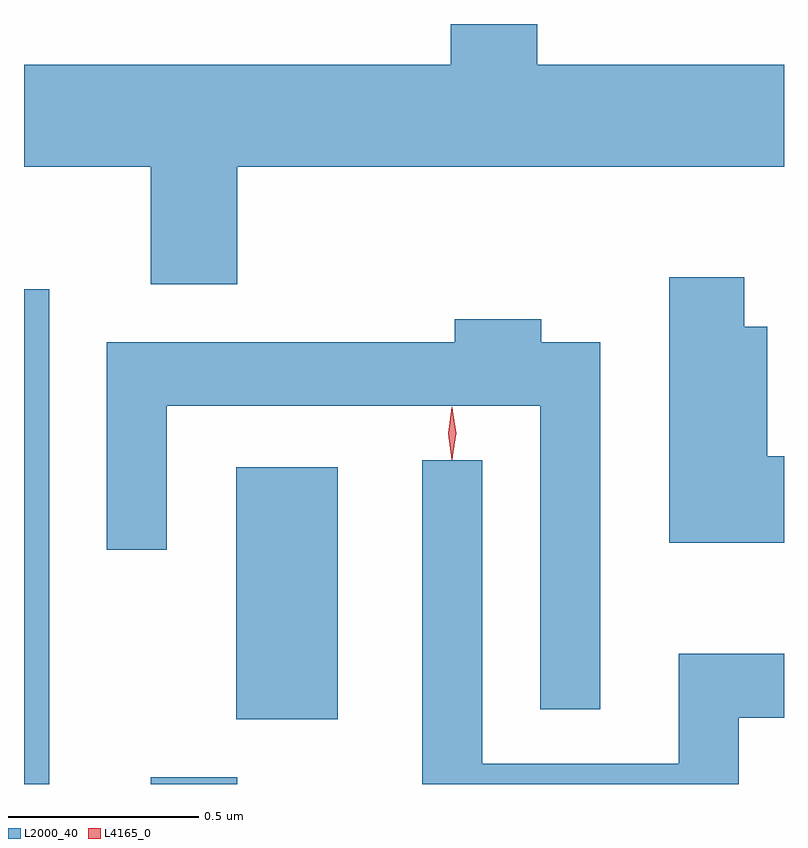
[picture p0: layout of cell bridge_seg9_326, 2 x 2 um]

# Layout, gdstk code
import gdstk
lib = gdstk.Library(unit=1e-6, precision=1e-09)
def R(c, l, rs):  # rectangles x0, y0, x1, y1
    for r in rs: c.add(gdstk.rectangle(r[:2], r[2:], *l))
def P(c, l, *ps):  # polygons
    for p in ps: c.add(gdstk.Polygon(p, *l))
L2000_40 = (2000, 40)
L4165_0 = (4165, 0)

bridge_seg9_326 = lib.new_cell('bridge_seg9_326')
R(bridge_seg9_326, L2000_40, [(1018.718,2070.111,1018.784,2071.413), (1019.051,2070.111,1019.279,2070.129), (1019.276,2070.281,1019.544,2070.944)])
P(bridge_seg9_326, L2000_40, [(1019.279,2071.736),(1020.718,2071.736),(1020.718,2072.004),(1020.069,2072.004),(1020.069,2072.111),(1019.841,2072.111),(1019.841,2072.004),(1018.718,2072.004),(1018.718,2071.736),(1019.051,2071.736),(1019.051,2071.426),(1019.279,2071.426)],
  [(1020.718,2070.974),(1020.674,2070.974),(1020.674,2071.314),(1020.614,2071.314),(1020.614,2071.444),(1020.416,2071.444),(1020.416,2070.746),(1020.718,2070.746)],
  [(1020.234,2071.274),(1020.079,2071.274),(1020.079,2071.334),(1019.851,2071.334),(1019.851,2071.274),(1018.936,2071.274),(1018.936,2070.728),(1019.094,2070.728),(1019.094,2071.106),(1020.076,2071.106),(1020.076,2070.308),(1020.234,2070.308)],
  [(1020.599,2070.286),(1020.718,2070.286),(1020.718,2070.454),(1020.441,2070.454),(1020.441,2070.164),(1019.924,2070.164),(1019.924,2070.963),(1019.766,2070.963),(1019.766,2070.111),(1020.599,2070.111)])
P(bridge_seg9_326, L4165_0, [(1019.844,2070.964),(1019.844,2070.964),(1019.834,2071.033),(1019.844,2071.102),(1019.844,2071.103),(1019.845,2071.102),(1019.854,2071.033),(1019.845,2070.964)],
  [(1019.845,2070.967),(1019.844,2070.968),(1019.835,2071.034),(1019.844,2071.1),(1019.845,2071.1),(1019.845,2071.1),(1019.855,2071.034),(1019.845,2070.968)])

lib.write_gds('bridge_seg9_326.gds')
